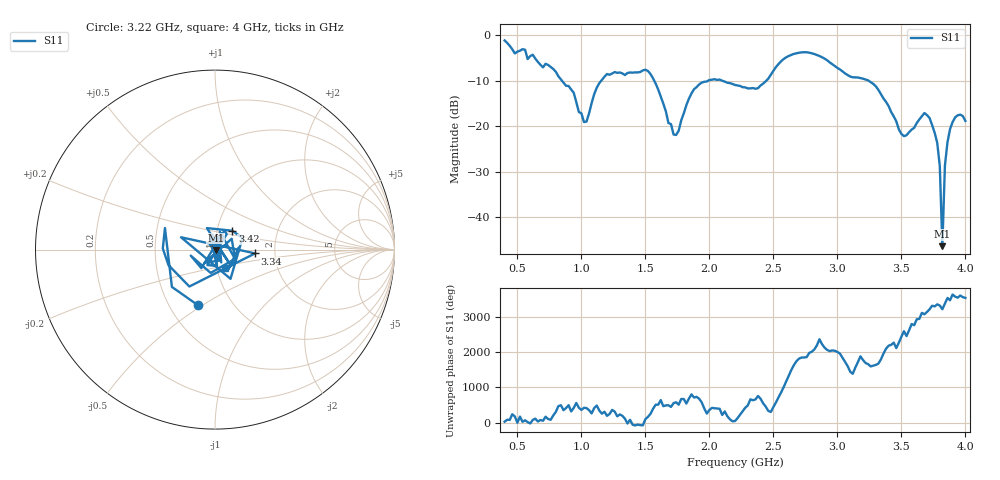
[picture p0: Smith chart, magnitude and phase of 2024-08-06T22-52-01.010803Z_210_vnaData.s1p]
!Created with skrf (http://scikit-rf.org).
# Hz S RI R 50.0
!freq ReS11 ImS11
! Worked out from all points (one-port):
!   181 points, 400 MHz to 4 GHz, reference 50 ohm
!   lowest |S11| = -46.3 dB at 3.82 GHz (marker M1), VSWR 1.01, Z = 50.4 - j0.192 ohm
!   |S11| at or under -10 dB: 1.568 GHz to 1.992 GHz (424.2 MHz wide, 23.8 % of centre); 2.097 GHz to 2.446 GHz (348.5 MHz wide, 15.3 % of centre); 3.242 GHz to end of sweep (the widest 3 of 4)
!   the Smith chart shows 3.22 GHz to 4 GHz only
!   S11 on the Smith chart (normalised r, x): 3.22 GHz: 0.69, -0.48; 3.34 GHz: 1.57, -0.07; 3.42 GHz: 1.19, +0.25; 4 GHz: 1.09, -0.22
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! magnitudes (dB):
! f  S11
! 400 MHz  -1.2
! 860 MHz  -10.5
! 940 MHz  -12.7
! 1.02 GHz  -19.1
! 1.14 GHz  -10.6
! 1.3 GHz  -8.2
! 1.52 GHz  -7.9
! 1.72 GHz  -21.8
! 1.76 GHz  -21.0
! 1.84 GHz  -14.0
! 1.92 GHz  -10.8
! 2.2 GHz  -11.0
! 2.38 GHz  -11.7
! 2.66 GHz  -4.2
! 3.1 GHz  -9.1
! 3.22 GHz  -9.8
! 3.34 GHz  -13.0
! 3.42 GHz  -16.9
! 3.5 GHz  -21.7
! 3.56 GHz  -21.3
! 3.68 GHz  -17.1
! 3.76 GHz  -21.5
! 3.8 GHz  -28.7
! 3.82 GHz  -46.3
! 3.84 GHz  -28.6
! 3.86 GHz  -23.5
! 3.92 GHz  -18.1
! 4 GHz  -18.9
